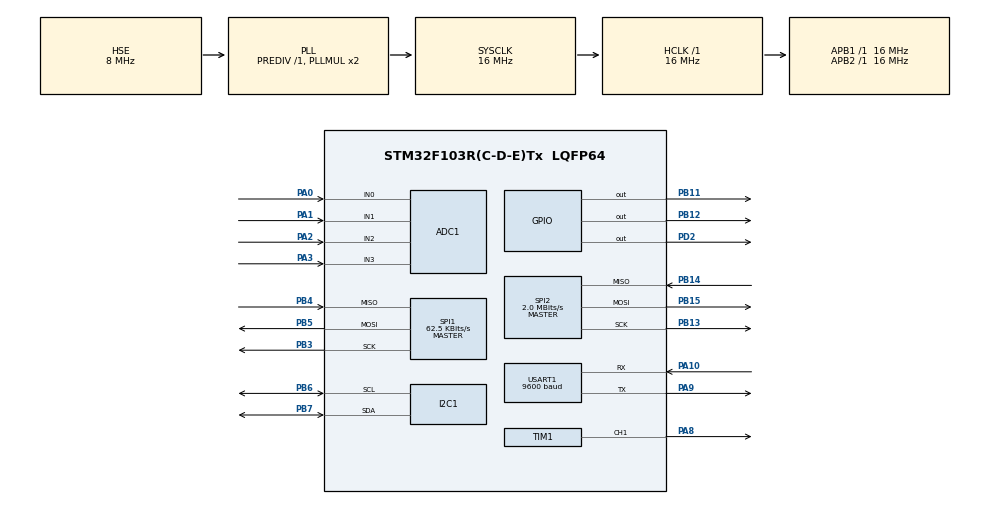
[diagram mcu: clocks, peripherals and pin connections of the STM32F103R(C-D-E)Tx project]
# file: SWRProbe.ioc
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ADC1.Channel-2\#ChannelRegularConversion=ADC_CHANNEL_0
ADC1.Channel-3\#ChannelRegularConversion=ADC_CHANNEL_1
ADC1.Channel-4\#ChannelRegularConversion=ADC_CHANNEL_2
ADC1.Channel-5\#ChannelRegularConversion=ADC_CHANNEL_3
ADC1.Channel-6\#ChannelRegularConversion=ADC_CHANNEL_VREFINT
ADC1.ContinuousConvMode=ENABLE
ADC1.DataAlign=ADC_DATAALIGN_RIGHT
ADC1.DiscontinuousConvMode=DISABLE
ADC1.EnableAnalogWatchDog=false
ADC1.EnableRegularConversion=ENABLE
ADC1.ExternalTrigConv=ADC_SOFTWARE_START
ADC1.InjNumberOfConversion=0
ADC1.NbrOfConversion=5
ADC1.NbrOfConversionFlag=1
ADC1.Rank-2\#ChannelRegularConversion=1
ADC1.Rank-3\#ChannelRegularConversion=2
ADC1.Rank-4\#ChannelRegularConversion=3
ADC1.Rank-5\#ChannelRegularConversion=4
ADC1.Rank-6\#ChannelRegularConversion=5
ADC1.SamplingTime-2\#ChannelRegularConversion=ADC_SAMPLETIME_239CYCLES_5
ADC1.SamplingTime-3\#ChannelRegularConversion=ADC_SAMPLETIME_239CYCLES_5
ADC1.SamplingTime-4\#ChannelRegularConversion=ADC_SAMPLETIME_239CYCLES_5
ADC1.SamplingTime-5\#ChannelRegularConversion=ADC_SAMPLETIME_239CYCLES_5
ADC1.SamplingTime-6\#ChannelRegularConversion=ADC_SAMPLETIME_7CYCLES_5
ADC1.ScanConvMode=ADC_SCAN_ENABLE
ADC1.master=1
Dma.ADC1.0.Direction=DMA_PERIPH_TO_MEMORY
Dma.ADC1.0.Instance=DMA1_Channel1
Dma.ADC1.0.MemDataAlignment=DMA_MDATAALIGN_HALFWORD
Dma.ADC1.0.MemInc=DMA_MINC_ENABLE
Dma.ADC1.0.Mode=DMA_CIRCULAR
Dma.ADC1.0.PeriphDataAlignment=DMA_PDATAALIGN_HALFWORD
Dma.ADC1.0.PeriphInc=DMA_PINC_DISABLE
Dma.ADC1.0.Priority=DMA_PRIORITY_HIGH
Dma.Request0=ADC1
Mcu.Family=STM32F1
Mcu.Name=STM32F103R(C-D-E)Tx
Mcu.Package=LQFP64
NVIC.DMA1_Channel1_IRQn=true\:0\:0\:false\:false\:true\:false
NVIC.PriorityGroup=NVIC_PRIORITYGROUP_4
NVIC.TIM1_CC_IRQn=true\:0\:0\:false\:false\:true\:true
NVIC.TIM3_IRQn=true\:0\:0\:false\:false\:true\:true
PA0-WKUP.Signal=ADCx_IN0
PA1.Signal=ADCx_IN1
PA10.Mode=Asynchronous
PA10.Signal=USART1_RX
PA13.Mode=Serial_Wire
PA13.Signal=SYS_JTMS-SWDIO
PA14.Mode=Serial_Wire
PA14.Signal=SYS_JTCK-SWCLK
PA2.Signal=ADCx_IN2
PA3.Signal=ADCx_IN3
PA8.Signal=S_TIM1_CH1
PA9.Mode=Asynchronous
PA9.Signal=USART1_TX
PB11.Signal=GPIO_Output
PB12.Signal=GPIO_Output
PB13.Mode=Full_Duplex_Master
PB13.Signal=SPI2_SCK
PB14.Mode=Full_Duplex_Master
PB14.Signal=SPI2_MISO
PB15.Mode=Full_Duplex_Master
PB15.Signal=SPI2_MOSI
PB3.Mode=Full_Duplex_Master
PB3.Signal=SPI1_SCK
PB4.Mode=Full_Duplex_Master
PB4.Signal=SPI1_MISO
PB5.Mode=Full_Duplex_Master
PB5.Signal=SPI1_MOSI
PB6.Mode=I2C
PB6.Signal=I2C1_SCL
PB7.Mode=I2C
PB7.Signal=I2C1_SDA
PD0-OSC_IN.Mode=HSE-External-Oscillator
PD0-OSC_IN.Signal=RCC_OSC_IN
PD1-OSC_OUT.Mode=HSE-External-Oscillator
PD1-OSC_OUT.Signal=RCC_OSC_OUT
PD2.Signal=GPIO_Output
ProjectManager.HeapSize=0x200
ProjectManager.StackSize=0x400
ProjectManager.TargetToolchain=SW4STM32
RCC.AHBFreq_Value=16000000
RCC.APB1Freq_Value=16000000
RCC.APB1TimFreq_Value=16000000
RCC.APB2Freq_Value=16000000
RCC.APB2TimFreq_Value=16000000
RCC.HCLKFreq_Value=16000000
RCC.PLLSourceVirtual=RCC_PLLSOURCE_HSE
RCC.SYSCLKFreq_VALUE=16000000
RCC.SYSCLKSource=RCC_SYSCLKSOURCE_PLLCLK
RCC.USBFreq_Value=16000000
SH.ADCx_IN0.0=ADC1_IN0,IN0
SH.ADCx_IN1.0=ADC1_IN1,IN1
SH.ADCx_IN2.0=ADC1_IN2,IN2
SH.ADCx_IN3.0=ADC1_IN3,IN3
SH.S_TIM1_CH1.0=TIM1_CH1,PWM Generation1 CH1
SPI1.BaudRatePrescaler=SPI_BAUDRATEPRESCALER_256
SPI1.CLKPhase=SPI_PHASE_2EDGE
SPI1.CLKPolarity=SPI_POLARITY_LOW
SPI1.CalculateBaudRate=62.5 KBits/s
SPI1.DataSize=SPI_DATASIZE_16BIT
SPI1.Direction=SPI_DIRECTION_2LINES
SPI1.FirstBit=SPI_FIRSTBIT_LSB
SPI1.Mode=SPI_MODE_MASTER
SPI1.VirtualType=VM_MASTER
SPI2.BaudRatePrescaler=SPI_BAUDRATEPRESCALER_8
SPI2.CalculateBaudRate=2.0 MBits/s
SPI2.Direction=SPI_DIRECTION_2LINES
SPI2.Mode=SPI_MODE_MASTER
SPI2.VirtualType=VM_MASTER
TIM1.Channel-PWM\ Generation1\ CH1=TIM_CHANNEL_1
TIM1.Period=65535
TIM1.Prescaler=15
TIM2.AutoReloadPreload=TIM_AUTORELOAD_PRELOAD_DISABLE
TIM2.CounterMode=TIM_COUNTERMODE_UP
TIM2.Period=65535
TIM2.Prescaler=7
TIM2.TIM_MasterOutputTrigger=TIM_TRGO_UPDATE
TIM2.TIM_MasterSlaveMode=TIM_MASTERSLAVEMODE_ENABLE
TIM3.Channel-Output\ Compare1\ No\ Output=TIM_CHANNEL_1
TIM3.OCMode_1=TIM_OCMODE_TOGGLE
TIM3.Period=15999
TIM3.Prescaler=199
TIM3.Pulse-Output\ Compare1\ No\ Output=2000
TIM3.TIM_MasterOutputTrigger=TIM_TRGO_OC1REF
TIM3.TIM_MasterSlaveMode=TIM_MASTERSLAVEMODE_ENABLE
TIM4.Period=65535
USART1.BaudRate=9600
USART1.Mode=MODE_TX_RX
USART1.VirtualMode=VM_ASYNC
VP_ADC1_Vref_Input.Mode=IN-Vrefint
VP_TIM1_VS_ClockSourceINT.Mode=Internal
VP_TIM2_VS_ClockSourceINT.Mode=Internal
VP_TIM2_VS_ClockSourceITR.Mode=TriggerSource_ITR2
VP_TIM2_VS_ControllerModeGated.Mode=Gated Mode
VP_TIM3_VS_ClockSourceINT.Mode=Internal
VP_TIM3_VS_no_output1.Mode=Output Compare1 No Output
VP_TIM4_VS_ClockSourceITR.Mode=TriggerSource_ITR1
VP_TIM4_VS_ControllerModeClock.Mode=Clock Mode
board=SWRProbe

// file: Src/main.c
/**
  ******************************************************************************
  * File Name          : main.c
  * Description        : Main program body
  ******************************************************************************
  ** This notice applies to any and all portions of this file
  * that are not between comment pairs USER CODE BEGIN and
  * USER CODE END. Other portions of this file, whether
  * inserted by the user or by software development tools
  * are owned by their respective copyright owners.
  *
  * COPYRIGHT(c) 2017 STMicroelectronics
  *
  * Redistribution and use in source and binary forms, with or without modification,
  * are permitted provided that the following conditions are met:
  *   1. Redistributions of source code must retain the above copyright notice,
  *      this list of conditions and the following disclaimer.
  *   2. Redistributions in binary form must reproduce the above copyright notice,
  *      this list of conditions and the following disclaimer in the documentation
  *      and/or other materials provided with the distribution.
  *   3. Neither the name of STMicroelectronics nor the names of its contributors
  *      may be used to endorse or promote products derived from this software
  *      without specific prior written permission.
  *
  * THIS SOFTWARE IS PROVIDED BY THE COPYRIGHT HOLDERS AND CONTRIBUTORS "AS IS"
  * AND ANY EXPRESS OR IMPLIED WARRANTIES, INCLUDING, BUT NOT LIMITED TO, THE
  * IMPLIED WARRANTIES OF MERCHANTABILITY AND FITNESS FOR A PARTICULAR PURPOSE ARE
  * DISCLAIMED. IN NO EVENT SHALL THE COPYRIGHT HOLDER OR CONTRIBUTORS BE LIABLE
  * FOR ANY DIRECT, INDIRECT, INCIDENTAL, SPECIAL, EXEMPLARY, OR CONSEQUENTIAL
  * DAMAGES (INCLUDING, BUT NOT LIMITED TO, PROCUREMENT OF SUBSTITUTE GOODS OR
  * SERVICES; LOSS OF USE, DATA, OR PROFITS; OR BUSINESS INTERRUPTION) HOWEVER
  * CAUSED AND ON ANY THEORY OF LIABILITY, WHETHER IN CONTRACT, STRICT LIABILITY,
  * OR TORT (INCLUDING NEGLIGENCE OR OTHERWISE) ARISING IN ANY WAY OUT OF THE USE
  * OF THIS SOFTWARE, EVEN IF ADVISED OF THE POSSIBILITY OF SUCH DAMAGE.
  *
  ******************************************************************************
  */

#include "main.h"
#include "stm32f1xx_hal.h"
#include "adc.h"
#include "dma.h"
#include "i2c.h"
#include "spi.h"
#include "tim.h"
#include "usart.h"
#include "gpio.h"

/* USER CODE BEGIN Includes */
#include "dwt_stm32_delay.h"
#include "LiquidCrystal_I2C.h"
#include "fm25w256.h"
#include "tle6208.h"
#include "key8574.h"
#include "sound.h"

/* USER CODE END Includes */

/* USER CODE BEGIN PV */
/* Private variables ---------------------------------------------------------*/
uint32_t freqCnt;
uint8_t FramData = 0;
uint16_t tleCommand = 0;

#define SAMPLE_RATE 10
#define NUM_CHANNELS 5
#define ADCCONVERTEDVALUES_BUFFER_SIZE ((uint32_t)  (SAMPLE_RATE * NUM_CHANNELS * 2))     /* Size of array containing ADC converted values */

__IO uint16_t	aADCxConvertedValues[ADCCONVERTEDVALUES_BUFFER_SIZE]; /* ADC conversion results table of regular group, channel on rank1 */
uint16_t        uhADCxConvertedValue_Regular_Avg_half1[NUM_CHANNELS];  /* Average of the 1st half of ADC conversion results table of regular group, channel on rank1 */
uint16_t        uhADCxConvertedValue_Regular_Avg_half2[NUM_CHANNELS];  /* Average of the 2nd half of ADC conversion results table of regular group, channel on rank1 */
uint16_t*       puhADCxConvertedValue_Regular_Avg;       /* Pointer to the average of the 1st or 2nd half of ADC conversion results table of regular group, channel on rank1*/
uint8_t			ADC_new = 0;

/* USER CODE END PV */

void SystemClock_Config(void);

/* USER CODE BEGIN PFP */
/* Private function prototypes -----------------------------------------------*/

/* USER CODE END PFP */

/* USER CODE BEGIN 0 */

/*
// обработка для таймера звука
void HAL_TIM_PWM_PulseFinishedCallback(TIM_HandleTypeDef *htim)
{
    if (htim->Instance==TIM1) //check if the interrupt comes from TIM1
    {
//    	__HAL_TIM_SET_COUNTER(&htim1, 0);
//		__HAL_TIM_SET_COMPARE(&htim1, TIM_CHANNEL_1, 10000);
//    	__HAL_TIM_DISABLE(&htim1);
//		__HAL_TIM_ENABLE(&htim1);
//    	__HAL_TIM_SET_AUTORELOAD(&htim1, 0);

    }
}
*/

// обработчик для частотомера
void HAL_TIM_OC_DelayElapsedCallback(TIM_HandleTypeDef *htim)
{
    if (htim->Instance==TIM3) //check if the interrupt comes from TIM3
        {

    	if (__HAL_TIM_GET_COMPARE(&htim3, TIM_CHANNEL_1) == 2000) { // запустили
    		__HAL_TIM_SET_COMPARE(&htim3, TIM_CHANNEL_1, 10000); // выключим при 10000
    	} else { // остановили
   	    	freqCnt = ((uint32_t)__HAL_TIM_GET_COUNTER(&htim2)) |
   	    			  ((uint32_t)__HAL_TIM_GET_COUNTER(&htim4) << 16);
   	    	__HAL_TIM_SET_COUNTER(&htim2, 0);
   	    	__HAL_TIM_SET_COUNTER(&htim4, 0);
    		__HAL_TIM_SET_COMPARE(&htim3, TIM_CHANNEL_1, 2000); // включим при 2000
    		}
    	}
}

// обработчики для АЦП через DMA с усреднением 10 сэмплов
void HAL_ADC_ConvCpltCallback(ADC_HandleTypeDef *AdcHandle)
{
  uint32_t avg_index;
  uint32_t ch_index;
  uint32_t tmp_average;

  /* When the 1st half of the buffer is reached, compute these results while  */
  /* the 2nd half of the buffer is updated by the ADC and DMA transfers.      */

  /* Process average of the 1st half of the buffer */
  for (ch_index = 0; ch_index < NUM_CHANNELS; ch_index++)
  {
	tmp_average = 0;
	for (avg_index = 0; avg_index < SAMPLE_RATE; avg_index++)
	{
		tmp_average += aADCxConvertedValues[SAMPLE_RATE*NUM_CHANNELS + ch_index + avg_index*NUM_CHANNELS];
	}
	uhADCxConvertedValue_Regular_Avg_half2[ch_index] = (uint16_t)(tmp_average/SAMPLE_RATE);
  }
  puhADCxConvertedValue_Regular_Avg = (uint16_t*)&uhADCxConvertedValue_Regular_Avg_half2;
  ADC_new = 1;
}

/**
  * @brief  Conversion DMA half-transfer callback in non blocking mode
  * @param  hadc: ADC handle
  * @retval None
  */
void HAL_ADC_ConvHalfCpltCallback(ADC_HandleTypeDef* hadc)
{
  uint32_t avg_index;
  uint32_t ch_index;
  uint32_t tmp_average;

  /* When the 1st half of the buffer is reached, compute these results while  */
  /* the 2nd half of the buffer is updated by the ADC and DMA transfers.      */

  /* Process average of the 1st half of the buffer */
  for (ch_index = 0; ch_index < NUM_CHANNELS; ch_index++)
  {
	tmp_average = 0;
	for (avg_index = 0; avg_index < SAMPLE_RATE; avg_index++)
	{
		tmp_average += aADCxConvertedValues[ch_index + avg_index*NUM_CHANNELS];
	}
	uhADCxConvertedValue_Regular_Avg_half1[ch_index] = (uint16_t)(tmp_average/SAMPLE_RATE);
  }
  puhADCxConvertedValue_Regular_Avg = (uint16_t*)&uhADCxConvertedValue_Regular_Avg_half1;
  ADC_new = 1;
}

/* USER CODE END 0 */

int main(void)
{

  /* USER CODE BEGIN 1 */
//ttt
  /* USER CODE END 1 */

  /* MCU Configuration----------------------------------------------------------*/

  /* Reset of all peripherals, Initializes the Flash interface and the Systick. */
  HAL_Init();

  /* Configure the system clock */
  SystemClock_Config();

  /* Initialize all configured peripherals */
  MX_GPIO_Init();
  MX_DMA_Init();
  MX_USART1_UART_Init();
  MX_TIM2_Init();
  MX_I2C1_Init();
  MX_TIM3_Init();
  MX_TIM4_Init();
  MX_ADC1_Init();
  MX_SPI2_Init();
  MX_SPI1_Init();
  MX_TIM1_Init();

  /* USER CODE BEGIN 2 */

  // запускаем звук
  HAL_TIM_PWM_Start_IT(&htim1, TIM_CHANNEL_1);

  // запускаем частотомер
  HAL_TIM_Base_Start(&htim4);    //Start TIM4 without interrupt
  HAL_TIM_Base_Start(&htim2);    //Start TIM2 without interrupt
  HAL_TIM_OC_Start_IT(&htim3, TIM_CHANNEL_1);

  // запускаем вольтметры
  HAL_ADC_Start(&hadc1);
  HAL_ADC_Start_DMA(&hadc1, (uint32_t*)aADCxConvertedValues, ADCCONVERTEDVALUES_BUFFER_SIZE);

  // запускаем счетчик микросекунд
  if(DWT_Delay_Init())
  {
    Error_Handler(); /* Call Error Handler */
  }

  // запускаем LCD по I2C
  LCDI2C_init(0x27,16,2);

  int i;
  for( i = 0; i< 3; i++)
  {
    LCDI2C_backlight();
    HAL_Delay(250);
    LCDI2C_noBacklight();
    HAL_Delay(250);
  }
  LCDI2C_backlight(); // finish with backlight on
  LCDI2C_clear();
  LCDI2C_write_String("Hello");

  StartMusic();

//  FramWriteByte(0x0000, 0xAA); // Проверяем работоспособность FRAM памяти
  //FramData = FramReadByte(0x0000);

  /* USER CODE END 2 */

  /* Infinite loop */
  while (1)
  {

  /* USER CODE BEGIN 3 */

   /* 1s Delay */
    DWT_Delay_us(1000000);

	tleCommand = (1 << 2) | (1 << 3); // LS-Switch 2 + HS-Switch 1
	freqCnt = tleWrite(tleCommand); // пробуем зажечь светодиод

	  HAL_GPIO_TogglePin(GPIOB, GPIO_PIN_11);
//	  HAL_Delay(100);
    DWT_Delay_us(100000);
	  HAL_GPIO_TogglePin(GPIOB, GPIO_PIN_11);
	    DWT_Delay_us(100000);
//	  HAL_Delay(100);
	  HAL_GPIO_TogglePin(GPIOB, GPIO_PIN_11);
	    DWT_Delay_us(100000);
//	  HAL_Delay(100);
	  HAL_GPIO_TogglePin(GPIOB, GPIO_PIN_11);
	    DWT_Delay_us(2000000);
//	  HAL_Delay(2000);

		static char freq_Out[20];

		freqCnt = puhADCxConvertedValue_Regular_Avg[0]; // проверека АЦП
		freqCnt = FramReadByte(0x0000); // проверка чипа памяти

		tleCommand = (1 << 1) | (1 << 4); // LS-Switch 1 + HS-Switch 2 = 0x12
		freqCnt = tleWrite(tleCommand); // пробуем зажечь светодиод

		freqCnt = keyRead8574();
		if (freqCnt & PCF8574_KEY1) {
			freqCnt = 1;
        	__HAL_TIM_DISABLE(&htim1);
		};
		if (freqCnt & PCF8574_KEY2) {
			freqCnt = 2;
			  StartMusic();
		};
		if (freqCnt & PCF8574_KEY3) {
			freqCnt = 3;
		};
		if (freqCnt & PCF8574_KEY4) {
			freqCnt = 4;
		};

		sprintf(freq_Out, "%lu", freqCnt);
        LCDI2C_clear();
		LCDI2C_write_String("Cnt: ");
		LCDI2C_write_String(freq_Out);

  }
  /* USER CODE END 3 */

}

/** System Clock Configuration
*/
void SystemClock_Config(void)
{

  RCC_OscInitTypeDef RCC_OscInitStruct;
  RCC_ClkInitTypeDef RCC_ClkInitStruct;
  RCC_PeriphCLKInitTypeDef PeriphClkInit;

    /**Initializes the CPU, AHB and APB busses clocks
    */
  RCC_OscInitStruct.OscillatorType = RCC_OSCILLATORTYPE_HSE;
  RCC_OscInitStruct.HSEState = RCC_HSE_ON;
  RCC_OscInitStruct.HSEPredivValue = RCC_HSE_PREDIV_DIV1;
  RCC_OscInitStruct.HSIState = RCC_HSI_ON;
  RCC_OscInitStruct.PLL.PLLState = RCC_PLL_ON;
  RCC_OscInitStruct.PLL.PLLSource = RCC_PLLSOURCE_HSE;
  RCC_OscInitStruct.PLL.PLLMUL = RCC_PLL_MUL2;
  if (HAL_RCC_OscConfig(&RCC_OscInitStruct) != HAL_OK)
  {
    _Error_Handler(__FILE__, __LINE__);
  }

    /**Initializes the CPU, AHB and APB busses clocks
    */
  RCC_ClkInitStruct.ClockType = RCC_CLOCKTYPE_HCLK|RCC_CLOCKTYPE_SYSCLK
                              |RCC_CLOCKTYPE_PCLK1|RCC_CLOCKTYPE_PCLK2;
  RCC_ClkInitStruct.SYSCLKSource = RCC_SYSCLKSOURCE_PLLCLK;
  RCC_ClkInitStruct.AHBCLKDivider = RCC_SYSCLK_DIV1;
  RCC_ClkInitStruct.APB1CLKDivider = RCC_HCLK_DIV1;
  RCC_ClkInitStruct.APB2CLKDivider = RCC_HCLK_DIV1;

  if (HAL_RCC_ClockConfig(&RCC_ClkInitStruct, FLASH_LATENCY_0) != HAL_OK)
  {
    _Error_Handler(__FILE__, __LINE__);
  }

  PeriphClkInit.PeriphClockSelection = RCC_PERIPHCLK_ADC;
  PeriphClkInit.AdcClockSelection = RCC_ADCPCLK2_DIV2;
  if (HAL_RCCEx_PeriphCLKConfig(&PeriphClkInit) != HAL_OK)
  {
    _Error_Handler(__FILE__, __LINE__);
  }

    /**Configure the Systick interrupt time
    */
  HAL_SYSTICK_Config(HAL_RCC_GetHCLKFreq()/1000);

    /**Configure the Systick
    */
  HAL_SYSTICK_CLKSourceConfig(SYSTICK_CLKSOURCE_HCLK);

  /* SysTick_IRQn interrupt configuration */
  HAL_NVIC_SetPriority(SysTick_IRQn, 0, 0);
}

void _Error_Handler(char * file, int line)
{
  while(1)
  {
  }
}

/************************ (C) COPYRIGHT STMicroelectronics *****END OF FILE****/
